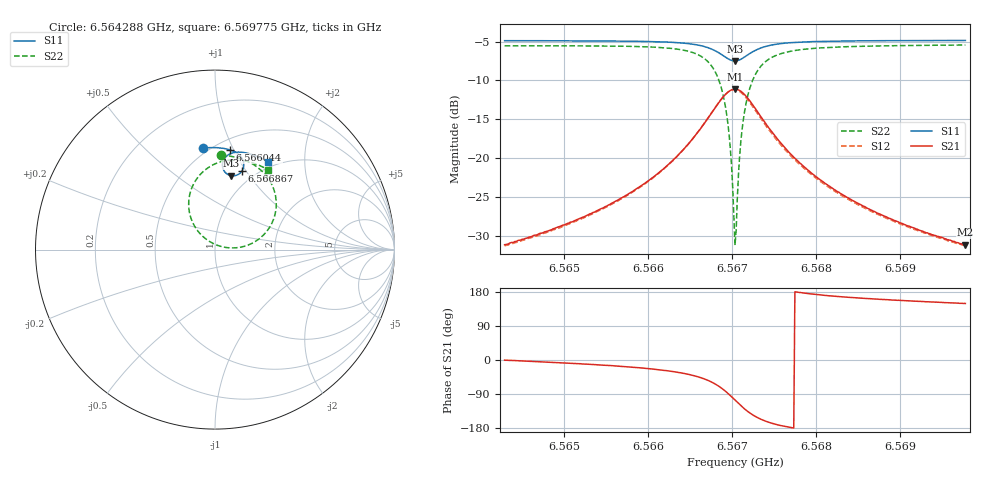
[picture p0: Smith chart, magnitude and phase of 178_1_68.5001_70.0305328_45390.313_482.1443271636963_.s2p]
#  HZ  S  RI  R  50.00
! Rohde & Schwarz Vector Network Analyzer
! Rohde-Schwarz,ZNB20-2Port,1311601062101988,3.16
! Created: UTC 3/20/2024, 4:56:35 PM
! freq[Hz]  re:S11  im:S11  re:S21  im:S21  re:S12  im:S12  re:S22  im:S22
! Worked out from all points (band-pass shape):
!   401 points, 6.564288 GHz to 6.569775 GHz, reference 50 ohm
!   highest |S21| = -11.12 dB at 6.567031 GHz (marker M1); lowest = -31.1 dB at 6.569775 GHz (marker M2)
!   |S21| within 3 dB of the highest: 6.566756 GHz to 6.567305 GHz (549.1 kHz wide, 0.00836 % of centre)
!   lowest |S11| = -7.5 dB at 6.567031 GHz (marker M3), VSWR 2.46, Z = 41 + j41.1 ohm
!   |S11| at or under -10 dB: nowhere
!   |S22| runs from -31.2 to -5.5 dB; largest |S21 - S12| = 0.013
!   S11 on the Smith chart (normalised r, x): 6.564288 GHz: 0.46, +0.77; 6.566044 GHz: 0.60, +0.97; 6.566867 GHz: 0.86, +0.96; 6.569775 GHz: 0.91, +1.33
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6.5642878e9  -0.0678 0.5651  0.0278 -0.0002  0.0273 -0.000623  0.0326 0.5262
6.565207e9  0.00728 0.5681  0.0408 -0.0075  0.0401 -0.00798  0.1196 0.5133
6.5660438e9  0.0852 0.5553  0.0683 -0.03  0.0673 -0.0307  0.2271 0.4656
6.5661261e9  0.0936 0.5522  0.073 -0.035  0.0717 -0.0358  0.2411 0.4554
6.5664279e9  0.1282 0.5332  0.0938 -0.0672  0.0923 -0.0685  0.2997 0.3919
6.5666473e9  0.1535 0.5022  0.1075 -0.1212  0.1051 -0.1235  0.339 0.2875
6.5667708e9  0.1603 0.4712  0.1 -0.1755  0.0956 -0.1786  0.3312 0.184
6.5668668e9  0.1515 0.44  0.0672 -0.2289  0.0597 -0.2318  0.2725 0.0837
6.5669491e9  0.126 0.4169  0.00709 -0.2662  -0.0039 -0.2662  0.1617 0.0179
6.5669766e9  0.114 0.4127  -0.0193 -0.2718  -0.031 -0.2701  0.114 0.00973
6.5670177e9  0.0942 0.4112  -0.0616 -0.2706  -0.0733 -0.2658  0.039 0.0161
6.5670314e9  0.0877 0.4124  -0.0755 -0.2674  -0.087 -0.2615  0.0147 0.0233
6.5670452e9  0.0812 0.4142  -0.089 -0.2629  -0.1002 -0.2559  -0.00867 0.0333
6.5670589e9  0.075 0.4167  -0.102 -0.257  -0.1125 -0.249  -0.0306 0.0454
6.5671e9  0.0589 0.4281  -0.1359 -0.2328  -0.144 -0.2226  -0.0864 0.0923
6.5671412e9  0.048 0.443  -0.1599 -0.2022  -0.1654 -0.1912  -0.1233 0.1487
6.5671961e9  0.0416 0.4645  -0.1767 -0.1598  -0.1788 -0.1488  -0.1452 0.2252
6.5672647e9  0.0437 0.4884  -0.1792 -0.1129  -0.1784 -0.1036  -0.1408 0.3068
6.5675116e9  0.0821 0.5327  -0.1358 -0.025  -0.1327 -0.021  -0.0422 0.4535
6.5679505e9  0.1426 0.5428  -0.0791 0.00837  -0.0773 0.0096  0.0875 0.4995
6.5688697e9  0.2277 0.5219  -0.0383 0.0149  -0.0374 0.0152  0.2173 0.481
6.569775e9  0.2944 0.4893  -0.0238 0.0143  -0.0231 0.0143  0.2961 0.4441
